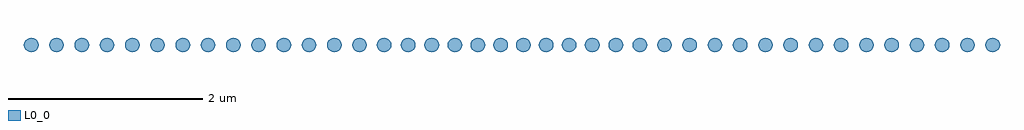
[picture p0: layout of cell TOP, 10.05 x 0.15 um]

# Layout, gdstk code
import gdstk
lib = gdstk.Library(unit=1e-6, precision=1e-09)
def P(c, l, *ps):  # polygons
    for p in ps: c.add(gdstk.Polygon(p, *l))
L0_0 = (0, 0)

top = lib.new_cell('TOP')
P(top, L0_0, [(-4.874,0),(-4.878,0.023),(-4.889,0.044),(-4.905,0.061),(-4.926,0.071),(-4.949,0.075),(-4.972,0.071),(-4.993,0.061),(-5.01,0.044),(-5.021,0.023),(-5.024,0),(-5.021,-0.023),(-5.01,-0.044),(-4.993,-0.061),(-4.972,-0.071),(-4.949,-0.075),(-4.926,-0.071),(-4.905,-0.061),(-4.889,-0.044),(-4.878,-0.023)],
  [(-4.614,0),(-4.618,0.023),(-4.629,0.044),(-4.645,0.061),(-4.666,0.071),(-4.689,0.075),(-4.712,0.071),(-4.733,0.061),(-4.75,0.044),(-4.761,0.023),(-4.764,0),(-4.761,-0.023),(-4.75,-0.044),(-4.733,-0.061),(-4.712,-0.071),(-4.689,-0.075),(-4.666,-0.071),(-4.645,-0.061),(-4.629,-0.044),(-4.618,-0.023)],
  [(-4.354,0),(-4.358,0.023),(-4.369,0.044),(-4.385,0.061),(-4.406,0.071),(-4.429,0.075),(-4.452,0.071),(-4.473,0.061),(-4.49,0.044),(-4.501,0.023),(-4.504,0),(-4.501,-0.023),(-4.49,-0.044),(-4.473,-0.061),(-4.452,-0.071),(-4.429,-0.075),(-4.406,-0.071),(-4.385,-0.061),(-4.369,-0.044),(-4.358,-0.023)],
  [(-4.094,0),(-4.098,0.023),(-4.109,0.044),(-4.125,0.061),(-4.146,0.071),(-4.169,0.075),(-4.192,0.071),(-4.213,0.061),(-4.23,0.044),(-4.241,0.023),(-4.244,0),(-4.241,-0.023),(-4.23,-0.044),(-4.213,-0.061),(-4.192,-0.071),(-4.169,-0.075),(-4.146,-0.071),(-4.125,-0.061),(-4.109,-0.044),(-4.098,-0.023)],
  [(-3.834,0),(-3.838,0.023),(-3.849,0.044),(-3.865,0.061),(-3.886,0.071),(-3.909,0.075),(-3.932,0.071),(-3.953,0.061),(-3.97,0.044),(-3.981,0.023),(-3.984,0),(-3.981,-0.023),(-3.97,-0.044),(-3.953,-0.061),(-3.932,-0.071),(-3.909,-0.075),(-3.886,-0.071),(-3.865,-0.061),(-3.849,-0.044),(-3.838,-0.023)],
  [(-3.574,0),(-3.578,0.023),(-3.589,0.044),(-3.605,0.061),(-3.626,0.071),(-3.649,0.075),(-3.672,0.071),(-3.693,0.061),(-3.71,0.044),(-3.721,0.023),(-3.724,0),(-3.721,-0.023),(-3.71,-0.044),(-3.693,-0.061),(-3.672,-0.071),(-3.649,-0.075),(-3.626,-0.071),(-3.605,-0.061),(-3.589,-0.044),(-3.578,-0.023)],
  [(-3.314,0),(-3.318,0.023),(-3.329,0.044),(-3.345,0.061),(-3.366,0.071),(-3.389,0.075),(-3.412,0.071),(-3.433,0.061),(-3.45,0.044),(-3.461,0.023),(-3.464,0),(-3.461,-0.023),(-3.45,-0.044),(-3.433,-0.061),(-3.412,-0.071),(-3.389,-0.075),(-3.366,-0.071),(-3.345,-0.061),(-3.329,-0.044),(-3.318,-0.023)],
  [(-3.054,0),(-3.058,0.023),(-3.069,0.044),(-3.085,0.061),(-3.106,0.071),(-3.129,0.075),(-3.152,0.071),(-3.173,0.061),(-3.19,0.044),(-3.201,0.023),(-3.204,0),(-3.201,-0.023),(-3.19,-0.044),(-3.173,-0.061),(-3.152,-0.071),(-3.129,-0.075),(-3.106,-0.071),(-3.085,-0.061),(-3.069,-0.044),(-3.058,-0.023)],
  [(-2.794,0),(-2.798,0.023),(-2.809,0.044),(-2.825,0.061),(-2.846,0.071),(-2.869,0.075),(-2.892,0.071),(-2.913,0.061),(-2.93,0.044),(-2.941,0.023),(-2.944,0),(-2.941,-0.023),(-2.93,-0.044),(-2.913,-0.061),(-2.892,-0.071),(-2.869,-0.075),(-2.846,-0.071),(-2.825,-0.061),(-2.809,-0.044),(-2.798,-0.023)],
  [(-2.534,0),(-2.538,0.023),(-2.549,0.044),(-2.565,0.061),(-2.586,0.071),(-2.609,0.075),(-2.632,0.071),(-2.653,0.061),(-2.67,0.044),(-2.681,0.023),(-2.684,0),(-2.681,-0.023),(-2.67,-0.044),(-2.653,-0.061),(-2.632,-0.071),(-2.609,-0.075),(-2.586,-0.071),(-2.565,-0.061),(-2.549,-0.044),(-2.538,-0.023)],
  [(-2.274,0),(-2.278,0.023),(-2.289,0.044),(-2.305,0.061),(-2.326,0.071),(-2.349,0.075),(-2.372,0.071),(-2.393,0.061),(-2.41,0.044),(-2.421,0.023),(-2.424,0),(-2.421,-0.023),(-2.41,-0.044),(-2.393,-0.061),(-2.372,-0.071),(-2.349,-0.075),(-2.326,-0.071),(-2.305,-0.061),(-2.289,-0.044),(-2.278,-0.023)],
  [(-2.014,0),(-2.018,0.023),(-2.029,0.044),(-2.045,0.061),(-2.066,0.071),(-2.089,0.075),(-2.112,0.071),(-2.133,0.061),(-2.15,0.044),(-2.161,0.023),(-2.164,0),(-2.161,-0.023),(-2.15,-0.044),(-2.133,-0.061),(-2.112,-0.071),(-2.089,-0.075),(-2.066,-0.071),(-2.045,-0.061),(-2.029,-0.044),(-2.018,-0.023)],
  [(-1.754,0),(-1.758,0.023),(-1.769,0.044),(-1.785,0.061),(-1.806,0.071),(-1.829,0.075),(-1.852,0.071),(-1.873,0.061),(-1.89,0.044),(-1.901,0.023),(-1.904,0),(-1.901,-0.023),(-1.89,-0.044),(-1.873,-0.061),(-1.852,-0.071),(-1.829,-0.075),(-1.806,-0.071),(-1.785,-0.061),(-1.769,-0.044),(-1.758,-0.023)],
  [(-1.494,0),(-1.498,0.023),(-1.509,0.044),(-1.525,0.061),(-1.546,0.071),(-1.569,0.075),(-1.592,0.071),(-1.613,0.061),(-1.63,0.044),(-1.641,0.023),(-1.644,0),(-1.641,-0.023),(-1.63,-0.044),(-1.613,-0.061),(-1.592,-0.071),(-1.569,-0.075),(-1.546,-0.071),(-1.525,-0.061),(-1.509,-0.044),(-1.498,-0.023)],
  [(-1.241,0),(-1.245,0.023),(-1.256,0.044),(-1.272,0.061),(-1.293,0.071),(-1.316,0.075),(-1.339,0.071),(-1.36,0.061),(-1.377,0.044),(-1.388,0.023),(-1.391,0),(-1.388,-0.023),(-1.377,-0.044),(-1.36,-0.061),(-1.339,-0.071),(-1.316,-0.075),(-1.293,-0.071),(-1.272,-0.061),(-1.256,-0.044),(-1.245,-0.023)],
  [(-0.994,0),(-0.998,0.023),(-1.008,0.044),(-1.025,0.061),(-1.046,0.071),(-1.069,0.075),(-1.092,0.071),(-1.113,0.061),(-1.13,0.044),(-1.14,0.023),(-1.144,0),(-1.14,-0.023),(-1.13,-0.044),(-1.113,-0.061),(-1.092,-0.071),(-1.069,-0.075),(-1.046,-0.071),(-1.025,-0.061),(-1.008,-0.044),(-0.998,-0.023)],
  [(-0.751,0),(-0.755,0.023),(-0.766,0.044),(-0.782,0.061),(-0.803,0.071),(-0.826,0.075),(-0.85,0.071),(-0.871,0.061),(-0.887,0.044),(-0.898,0.023),(-0.901,0),(-0.898,-0.023),(-0.887,-0.044),(-0.871,-0.061),(-0.85,-0.071),(-0.826,-0.075),(-0.803,-0.071),(-0.782,-0.061),(-0.766,-0.044),(-0.755,-0.023)],
  [(-0.513,0),(-0.516,0.023),(-0.527,0.044),(-0.544,0.061),(-0.564,0.071),(-0.588,0.075),(-0.611,0.071),(-0.632,0.061),(-0.648,0.044),(-0.659,0.023),(-0.663,0),(-0.659,-0.023),(-0.648,-0.044),(-0.632,-0.061),(-0.611,-0.071),(-0.588,-0.075),(-0.564,-0.071),(-0.544,-0.061),(-0.527,-0.044),(-0.516,-0.023)],
  [(-0.277,0),(-0.28,0.023),(-0.291,0.044),(-0.307,0.061),(-0.328,0.071),(-0.352,0.075),(-0.375,0.071),(-0.396,0.061),(-0.412,0.044),(-0.423,0.023),(-0.427,0),(-0.423,-0.023),(-0.412,-0.044),(-0.396,-0.061),(-0.375,-0.071),(-0.352,-0.075),(-0.328,-0.071),(-0.307,-0.061),(-0.291,-0.044),(-0.28,-0.023)],
  [(-0.042,0),(-0.046,0.023),(-0.056,0.044),(-0.073,0.061),(-0.094,0.071),(-0.117,0.075),(-0.14,0.071),(-0.161,0.061),(-0.178,0.044),(-0.188,0.023),(-0.192,0),(-0.188,-0.023),(-0.178,-0.044),(-0.161,-0.061),(-0.14,-0.071),(-0.117,-0.075),(-0.094,-0.071),(-0.073,-0.061),(-0.056,-0.044),(-0.046,-0.023)],
  [(0.192,0),(0.188,0.023),(0.178,0.044),(0.161,0.061),(0.14,0.071),(0.117,0.075),(0.094,0.071),(0.073,0.061),(0.056,0.044),(0.046,0.023),(0.042,0),(0.046,-0.023),(0.056,-0.044),(0.073,-0.061),(0.094,-0.071),(0.117,-0.075),(0.14,-0.071),(0.161,-0.061),(0.178,-0.044),(0.188,-0.023)],
  [(0.427,0),(0.423,0.023),(0.412,0.044),(0.396,0.061),(0.375,0.071),(0.352,0.075),(0.328,0.071),(0.307,0.061),(0.291,0.044),(0.28,0.023),(0.277,0),(0.28,-0.023),(0.291,-0.044),(0.307,-0.061),(0.328,-0.071),(0.352,-0.075),(0.375,-0.071),(0.396,-0.061),(0.412,-0.044),(0.423,-0.023)],
  [(0.663,0),(0.659,0.023),(0.648,0.044),(0.632,0.061),(0.611,0.071),(0.588,0.075),(0.564,0.071),(0.544,0.061),(0.527,0.044),(0.516,0.023),(0.513,0),(0.516,-0.023),(0.527,-0.044),(0.544,-0.061),(0.564,-0.071),(0.588,-0.075),(0.611,-0.071),(0.632,-0.061),(0.648,-0.044),(0.659,-0.023)],
  [(0.901,0),(0.898,0.023),(0.887,0.044),(0.871,0.061),(0.85,0.071),(0.826,0.075),(0.803,0.071),(0.782,0.061),(0.766,0.044),(0.755,0.023),(0.751,0),(0.755,-0.023),(0.766,-0.044),(0.782,-0.061),(0.803,-0.071),(0.826,-0.075),(0.85,-0.071),(0.871,-0.061),(0.887,-0.044),(0.898,-0.023)],
  [(1.144,0),(1.14,0.023),(1.13,0.044),(1.113,0.061),(1.092,0.071),(1.069,0.075),(1.046,0.071),(1.025,0.061),(1.008,0.044),(0.998,0.023),(0.994,0),(0.998,-0.023),(1.008,-0.044),(1.025,-0.061),(1.046,-0.071),(1.069,-0.075),(1.092,-0.071),(1.113,-0.061),(1.13,-0.044),(1.14,-0.023)],
  [(1.391,0),(1.388,0.023),(1.377,0.044),(1.36,0.061),(1.339,0.071),(1.316,0.075),(1.293,0.071),(1.272,0.061),(1.256,0.044),(1.245,0.023),(1.241,0),(1.245,-0.023),(1.256,-0.044),(1.272,-0.061),(1.293,-0.071),(1.316,-0.075),(1.339,-0.071),(1.36,-0.061),(1.377,-0.044),(1.388,-0.023)],
  [(1.644,0),(1.641,0.023),(1.63,0.044),(1.613,0.061),(1.592,0.071),(1.569,0.075),(1.546,0.071),(1.525,0.061),(1.509,0.044),(1.498,0.023),(1.494,0),(1.498,-0.023),(1.509,-0.044),(1.525,-0.061),(1.546,-0.071),(1.569,-0.075),(1.592,-0.071),(1.613,-0.061),(1.63,-0.044),(1.641,-0.023)],
  [(1.904,0),(1.901,0.023),(1.89,0.044),(1.873,0.061),(1.852,0.071),(1.829,0.075),(1.806,0.071),(1.785,0.061),(1.769,0.044),(1.758,0.023),(1.754,0),(1.758,-0.023),(1.769,-0.044),(1.785,-0.061),(1.806,-0.071),(1.829,-0.075),(1.852,-0.071),(1.873,-0.061),(1.89,-0.044),(1.901,-0.023)],
  [(2.164,0),(2.161,0.023),(2.15,0.044),(2.133,0.061),(2.112,0.071),(2.089,0.075),(2.066,0.071),(2.045,0.061),(2.029,0.044),(2.018,0.023),(2.014,0),(2.018,-0.023),(2.029,-0.044),(2.045,-0.061),(2.066,-0.071),(2.089,-0.075),(2.112,-0.071),(2.133,-0.061),(2.15,-0.044),(2.161,-0.023)],
  [(2.424,0),(2.421,0.023),(2.41,0.044),(2.393,0.061),(2.372,0.071),(2.349,0.075),(2.326,0.071),(2.305,0.061),(2.289,0.044),(2.278,0.023),(2.274,0),(2.278,-0.023),(2.289,-0.044),(2.305,-0.061),(2.326,-0.071),(2.349,-0.075),(2.372,-0.071),(2.393,-0.061),(2.41,-0.044),(2.421,-0.023)],
  [(2.684,0),(2.681,0.023),(2.67,0.044),(2.653,0.061),(2.632,0.071),(2.609,0.075),(2.586,0.071),(2.565,0.061),(2.549,0.044),(2.538,0.023),(2.534,0),(2.538,-0.023),(2.549,-0.044),(2.565,-0.061),(2.586,-0.071),(2.609,-0.075),(2.632,-0.071),(2.653,-0.061),(2.67,-0.044),(2.681,-0.023)],
  [(2.944,0),(2.941,0.023),(2.93,0.044),(2.913,0.061),(2.892,0.071),(2.869,0.075),(2.846,0.071),(2.825,0.061),(2.809,0.044),(2.798,0.023),(2.794,0),(2.798,-0.023),(2.809,-0.044),(2.825,-0.061),(2.846,-0.071),(2.869,-0.075),(2.892,-0.071),(2.913,-0.061),(2.93,-0.044),(2.941,-0.023)],
  [(3.204,0),(3.201,0.023),(3.19,0.044),(3.173,0.061),(3.152,0.071),(3.129,0.075),(3.106,0.071),(3.085,0.061),(3.069,0.044),(3.058,0.023),(3.054,0),(3.058,-0.023),(3.069,-0.044),(3.085,-0.061),(3.106,-0.071),(3.129,-0.075),(3.152,-0.071),(3.173,-0.061),(3.19,-0.044),(3.201,-0.023)],
  [(3.464,0),(3.461,0.023),(3.45,0.044),(3.433,0.061),(3.412,0.071),(3.389,0.075),(3.366,0.071),(3.345,0.061),(3.329,0.044),(3.318,0.023),(3.314,0),(3.318,-0.023),(3.329,-0.044),(3.345,-0.061),(3.366,-0.071),(3.389,-0.075),(3.412,-0.071),(3.433,-0.061),(3.45,-0.044),(3.461,-0.023)],
  [(3.724,0),(3.721,0.023),(3.71,0.044),(3.693,0.061),(3.672,0.071),(3.649,0.075),(3.626,0.071),(3.605,0.061),(3.589,0.044),(3.578,0.023),(3.574,0),(3.578,-0.023),(3.589,-0.044),(3.605,-0.061),(3.626,-0.071),(3.649,-0.075),(3.672,-0.071),(3.693,-0.061),(3.71,-0.044),(3.721,-0.023)],
  [(3.984,0),(3.981,0.023),(3.97,0.044),(3.953,0.061),(3.932,0.071),(3.909,0.075),(3.886,0.071),(3.865,0.061),(3.849,0.044),(3.838,0.023),(3.834,0),(3.838,-0.023),(3.849,-0.044),(3.865,-0.061),(3.886,-0.071),(3.909,-0.075),(3.932,-0.071),(3.953,-0.061),(3.97,-0.044),(3.981,-0.023)],
  [(4.244,0),(4.241,0.023),(4.23,0.044),(4.213,0.061),(4.192,0.071),(4.169,0.075),(4.146,0.071),(4.125,0.061),(4.109,0.044),(4.098,0.023),(4.094,0),(4.098,-0.023),(4.109,-0.044),(4.125,-0.061),(4.146,-0.071),(4.169,-0.075),(4.192,-0.071),(4.213,-0.061),(4.23,-0.044),(4.241,-0.023)],
  [(4.504,0),(4.501,0.023),(4.49,0.044),(4.473,0.061),(4.452,0.071),(4.429,0.075),(4.406,0.071),(4.385,0.061),(4.369,0.044),(4.358,0.023),(4.354,0),(4.358,-0.023),(4.369,-0.044),(4.385,-0.061),(4.406,-0.071),(4.429,-0.075),(4.452,-0.071),(4.473,-0.061),(4.49,-0.044),(4.501,-0.023)],
  [(4.764,0),(4.761,0.023),(4.75,0.044),(4.733,0.061),(4.712,0.071),(4.689,0.075),(4.666,0.071),(4.645,0.061),(4.629,0.044),(4.618,0.023),(4.614,0),(4.618,-0.023),(4.629,-0.044),(4.645,-0.061),(4.666,-0.071),(4.689,-0.075),(4.712,-0.071),(4.733,-0.061),(4.75,-0.044),(4.761,-0.023)],
  [(5.024,0),(5.021,0.023),(5.01,0.044),(4.993,0.061),(4.972,0.071),(4.949,0.075),(4.926,0.071),(4.905,0.061),(4.889,0.044),(4.878,0.023),(4.874,0),(4.878,-0.023),(4.889,-0.044),(4.905,-0.061),(4.926,-0.071),(4.949,-0.075),(4.972,-0.071),(4.993,-0.061),(5.01,-0.044),(5.021,-0.023)])

lib.write_gds('TOP.gds')
